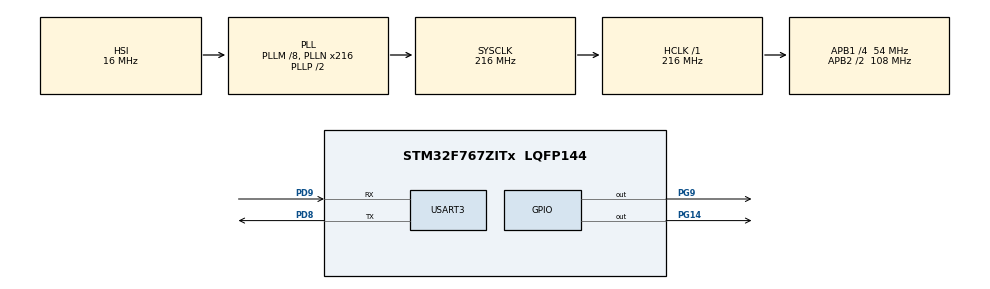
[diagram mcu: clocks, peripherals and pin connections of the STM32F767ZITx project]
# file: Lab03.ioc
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Mcu.Family=STM32F7
Mcu.Name=STM32F767ZITx
Mcu.Package=LQFP144
NVIC.PriorityGroup=NVIC_PRIORITYGROUP_4
PD8.Mode=Asynchronous
PD8.Signal=USART3_TX
PD9.Mode=Asynchronous
PD9.Signal=USART3_RX
PG14.Signal=GPIO_Output
PG9.Signal=GPIO_Output
ProjectManager.HeapSize=0x200
ProjectManager.StackSize=0x400
ProjectManager.TargetToolchain=STM32CubeIDE
RCC.AHBFreq_Value=216000000
RCC.APB1CLKDivider=RCC_HCLK_DIV4
RCC.APB1Freq_Value=54000000
RCC.APB1TimFreq_Value=108000000
RCC.APB2CLKDivider=RCC_HCLK_DIV2
RCC.APB2Freq_Value=108000000
RCC.APB2TimFreq_Value=216000000
RCC.CortexFreq_Value=216000000
RCC.HCLKFreq_Value=216000000
RCC.HSE_VALUE=25000000
RCC.HSI_VALUE=16000000
RCC.LSE_VALUE=32768
RCC.PLLM=8
RCC.PLLN=216
RCC.SYSCLKFreq_VALUE=216000000
RCC.SYSCLKSource=RCC_SYSCLKSOURCE_PLLCLK
RCC.USBFreq_Value=216000000
RCC.VCOOutputFreq_Value=432000000
USART3.VirtualMode-Asynchronous=VM_ASYNC
board=custom

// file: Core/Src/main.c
/* USER CODE BEGIN Header */
/**
  ******************************************************************************
  * @file           : main.c
  * @brief          : Main program body
  ******************************************************************************
  * @attention
  *
  * Copyright (c) 2023 STMicroelectronics.
  * All rights reserved.
  *
  * This software is licensed under terms that can be found in the LICENSE file
  * in the root directory of this software component.
  * If no LICENSE file comes with this software, it is provided AS-IS.
  *
  ******************************************************************************
  */
/* USER CODE END Header */
#include "main.h"
#include "usart.h"
#include "gpio.h"

/* USER CODE BEGIN Includes */
#include "string.h"
/* USER CODE END Includes */

/* USER CODE BEGIN PV */
char ch1;
uint32_t end = 0;
uint32_t start = 1;
/* USER CODE END PV */

void SystemClock_Config(void);

int main(void)
{

  /* MCU Configuration--------------------------------------------------------*/

  /* Reset of all peripherals, Initializes the Flash interface and the Systick. */
  HAL_Init();

  /* Configure the system clock */
  SystemClock_Config();

  /* Initialize all configured peripherals */
  MX_GPIO_Init();
  MX_USART3_UART_Init();

  /* Infinite loop */
  while (1)
  {

    /* USER CODE BEGIN 3 */
	  //char str[] = "Hello World!!\n\r";

	  //while transmission is not complete
//	  while (__HAL_UART_GET_FLAG(&huart3, UART_FLAG_TC) == RESET){}
//	  //ex01
//	  // exit loop and transmission
//	  HAL_UART_Transmit(&huart3, (uint8_t*) "A\n\r", 3, 1000);
//	  HAL_Delay(300);
	  // ex02
//	  HAL_UART_Transmit(&huart3, (uint8_t*) &ch1, 1, 1000);
//
//	  //ex03
//	  while (__HAL_UART_GET_FLAG(&huart3, UART_FLAG_TC) == RESET){}
//	  HAL_UART_Transmit(&huart3, (uint8_t*) "Input =>", strlen("Input =>"), 1000);
//	  while (__HAL_UART_GET_FLAG(&huart3, UART_FLAG_RXNE) == RESET) {}
//	  HAL_UART_Receive(&huart3, (uint8_t*) &ch1, 1, 1000);
//	  while (__HAL_UART_GET_FLAG(&huart3, UART_FLAG_TC) == RESET){}
//	  HAL_UART_Transmit(&huart3, (uint8_t*) &ch1, 1, 1000);
//	  HAL_UART_Transmit(&huart3, (uint8_t*) "\n\r", 2, 1000);
//	  if (ch1 == 'q')
//	  {
//		  while (__HAL_UART_GET_FLAG(&huart3, UART_FLAG_TC) == RESET){}
//		  HAL_UART_Transmit(&huart3, (uint8_t*) "QUIT\n\r",6, 1000);
//	  }
//	  //ex04
	  char msg[] = "Display Blinking LED PRESS (1, 2)\n\rDisplay Group Members PRESS m\n\rQuit PRESS q\n\r";
	  char str[] = "Input =>";
	  char unknow[] = "Unknown Command\n\r";
	  char id[3][50] = {"64010065\n\r", "64010298\n\r","64010757\n\r"};
	  char name[3][50] = {"Kerkkaiwan Supaseab\n\r", "Thaithat Kantha\n\r", "Worachote Jairew\n\r"};

	  if (!end)
	  {
		  if (start)
		  {
			  while (__HAL_UART_GET_FLAG(&huart3, UART_FLAG_TC) == RESET){}
			  HAL_UART_Transmit(&huart3, (uint8_t*) &msg, strlen(msg), 1000);
			  start = 0;
		  }
		  while (__HAL_UART_GET_FLAG(&huart3, UART_FLAG_TC) == RESET){}
		  HAL_UART_Transmit(&huart3, (uint8_t*) &str, strlen(str), 1000);
		  while (__HAL_UART_GET_FLAG(&huart3, UART_FLAG_RXNE) == RESET) {}
		  HAL_UART_Receive(&huart3, (uint8_t*) &ch1, 1, 1000);
		  if (ch1 == '1')
		  {
			  while (__HAL_UART_GET_FLAG(&huart3, UART_FLAG_TC) == RESET){}
			  HAL_UART_Transmit(&huart3, (uint8_t*) "1\n\r", 3, 1000);
			  for(int i = 0; i < 3; i++)
			  {
				  HAL_GPIO_WritePin(GPIOG, GPIO_PIN_9, GPIO_PIN_SET);
				  HAL_Delay(300);
				  HAL_GPIO_WritePin(GPIOG, GPIO_PIN_9, GPIO_PIN_RESET);
				  HAL_Delay(300);
			  }
		  }
		  else if (ch1 == '2')
		  {
			  while (__HAL_UART_GET_FLAG(&huart3, UART_FLAG_TC) == RESET){}
			  HAL_UART_Transmit(&huart3, (uint8_t*) "2\n\r", 3, 1000);
			  for(int i = 0; i < 3; i++)
			  {
				  HAL_GPIO_WritePin(GPIOG, GPIO_PIN_14, GPIO_PIN_SET);
				  HAL_Delay(300);
				  HAL_GPIO_WritePin(GPIOG, GPIO_PIN_14, GPIO_PIN_RESET);
				  HAL_Delay(300);
			  }
		  }
		  else if (ch1 == 'm')
		  {
			  while (__HAL_UART_GET_FLAG(&huart3, UART_FLAG_TC) == RESET){}
			  HAL_UART_Transmit(&huart3, (uint8_t*) "m\n\r", 3, 1000);
			  for (int i = 0; i < 3; i++)
			  {
				  HAL_UART_Transmit(&huart3, (uint8_t*) &id[i], strlen(id[i]), 1000);
				  HAL_UART_Transmit(&huart3, (uint8_t*) &name[i], strlen(name[i]), 1000);
			  }

		  }
		  else if (ch1 == 'q')
		  {
			  while (__HAL_UART_GET_FLAG(&huart3, UART_FLAG_TC) == RESET){}
			  HAL_UART_Transmit(&huart3, (uint8_t*) "q\n\rQUIT\n\r",9, 1000);
			  end = 1;
		  }
		  else
		  {
			  while (__HAL_UART_GET_FLAG(&huart3, UART_FLAG_TC) == RESET){}
			  HAL_UART_Transmit(&huart3, (uint8_t*) &unknow, strlen(unknow), 1000);
		  }
	  }
  }
  /* USER CODE END 3 */
}

void SystemClock_Config(void)
{
  RCC_OscInitTypeDef RCC_OscInitStruct = {0};
  RCC_ClkInitTypeDef RCC_ClkInitStruct = {0};

  /** Configure the main internal regulator output voltage
  */
  __HAL_RCC_PWR_CLK_ENABLE();
  __HAL_PWR_VOLTAGESCALING_CONFIG(PWR_REGULATOR_VOLTAGE_SCALE1);

  /** Initializes the RCC Oscillators according to the specified parameters
  * in the RCC_OscInitTypeDef structure.
  */
  RCC_OscInitStruct.OscillatorType = RCC_OSCILLATORTYPE_HSI;
  RCC_OscInitStruct.HSIState = RCC_HSI_ON;
  RCC_OscInitStruct.HSICalibrationValue = RCC_HSICALIBRATION_DEFAULT;
  RCC_OscInitStruct.PLL.PLLState = RCC_PLL_ON;
  RCC_OscInitStruct.PLL.PLLSource = RCC_PLLSOURCE_HSI;
  RCC_OscInitStruct.PLL.PLLM = 8;
  RCC_OscInitStruct.PLL.PLLN = 216;
  RCC_OscInitStruct.PLL.PLLP = RCC_PLLP_DIV2;
  RCC_OscInitStruct.PLL.PLLQ = 2;
  RCC_OscInitStruct.PLL.PLLR = 2;
  if (HAL_RCC_OscConfig(&RCC_OscInitStruct) != HAL_OK)
  {
    Error_Handler();
  }

  /** Activate the Over-Drive mode
  */
  if (HAL_PWREx_EnableOverDrive() != HAL_OK)
  {
    Error_Handler();
  }

  /** Initializes the CPU, AHB and APB buses clocks
  */
  RCC_ClkInitStruct.ClockType = RCC_CLOCKTYPE_HCLK|RCC_CLOCKTYPE_SYSCLK
                              |RCC_CLOCKTYPE_PCLK1|RCC_CLOCKTYPE_PCLK2;
  RCC_ClkInitStruct.SYSCLKSource = RCC_SYSCLKSOURCE_PLLCLK;
  RCC_ClkInitStruct.AHBCLKDivider = RCC_SYSCLK_DIV1;
  RCC_ClkInitStruct.APB1CLKDivider = RCC_HCLK_DIV4;
  RCC_ClkInitStruct.APB2CLKDivider = RCC_HCLK_DIV2;

  if (HAL_RCC_ClockConfig(&RCC_ClkInitStruct, FLASH_LATENCY_7) != HAL_OK)
  {
    Error_Handler();
  }
}

void Error_Handler(void)
{
  __disable_irq();
  while (1)
  {
  }
}
